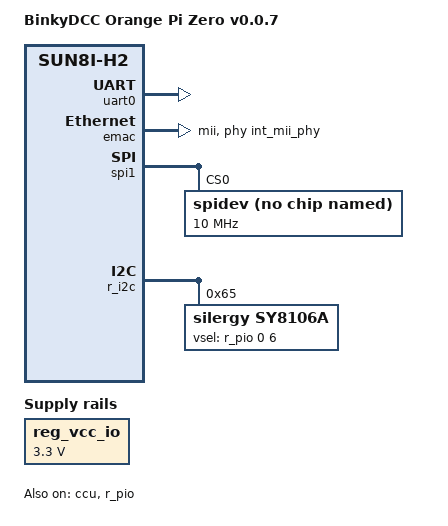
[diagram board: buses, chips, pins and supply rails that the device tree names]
/dts-v1/;
#include "allwinner/sun8i-h3.dtsi"
#include <dt-bindings/gpio/gpio.h>
#include <dt-bindings/clock/sun8i-h3-ccu.h>
#include <dt-bindings/reset/sun8i-h3-ccu.h>

/ {
    model = "BinkyDCC Orange Pi Zero v0.0.7";
    compatible = "xunlong,orangepi-zero", "allwinner,sun8i-h2-plus";

    aliases {
        serial0 = &uart0;
        ethernet0 = &emac;
    };

    chosen {
        stdout-path = "serial0:115200n8";
    };

    /* Fixed regulator for IO and Pin Controller power */
    reg_vcc_io: vcc3v3 {
        compatible = "regulator-fixed";
        regulator-name = "vcc-io";
        regulator-min-microvolt = <3300000>;
        regulator-max-microvolt = <3300000>;
        regulator-always-on;
    };

    cpus {
        cpu@0 {
            clock-frequency = <480000000>;
        };
    };
};

/* --- CPU & Clocks --- */
&cpu0 {
    device_type = "cpu";
    cpu-supply = <&sy8106a>; /* Links to the label in r_i2c below */
};

&ccu {
    status = "okay";
};

&osc24M {
    status = "okay";
};

/* --- Networking & Peripherals --- */
&uart0 {
    pinctrl-names = "default";
    pinctrl-0 = <&uart0_pa_pins>;
    status = "okay";
};

&emac {
    phy-handle = <&int_mii_phy>;
    phy-mode = "mii";
    allwinner,leds-active-low;
    status = "okay";
};

&spi1 {
    status = "okay";
    pinctrl-names = "default";
    pinctrl-0 = <&spi1_pins>;

    spidev@0 {
        compatible = "rohm,dh2228fv";
        reg = <0>;
        spi-max-frequency = <10000000>;
    };
};

/* --- Power & Pin Controllers --- */
&pio {
    vcc-pa-supply = <&reg_vcc_io>;
};

&r_pio {
    vcc-pl-supply = <&reg_vcc_io>;
    status = "okay";
};

&r_i2c {
    pinctrl-names = "default";
    pinctrl-0 = <&r_i2c_pins>;
    status = "okay";

    sy8106a: sy8106a@65 {
        compatible = "silergy,sy8106a";
        reg = <0x65>;
        regulator-name = "vdd-cpux";
        /* Tighten the range to exactly what the chip expects */
        regulator-min-microvolt = <1000000>;
        regulator-max-microvolt = <1400000>;
        regulator-boot-on;
        regulator-always-on;
        /* Some DTs use 'fsl,vsel-gpios' (plural) - let's provide the standard one */
        fsl,vsel-gpio = <&r_pio 0 6 GPIO_ACTIVE_HIGH>;
    };
};
